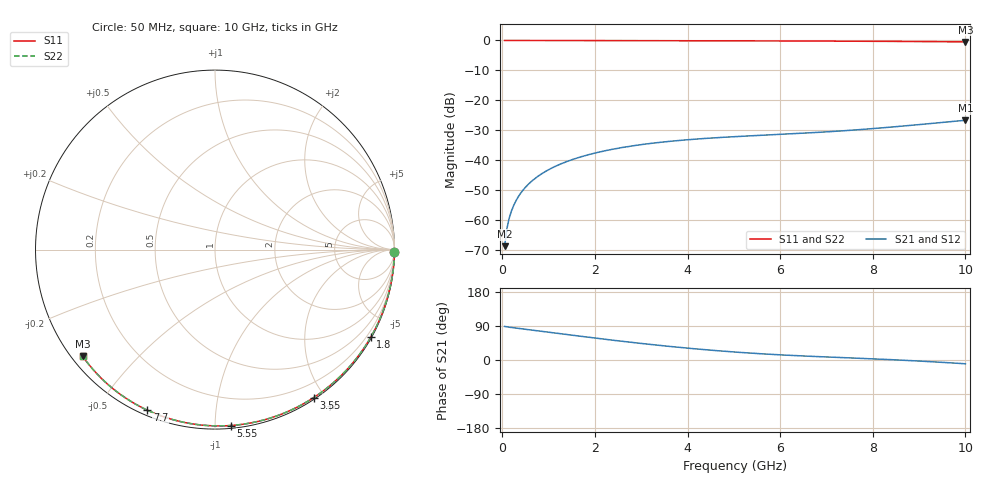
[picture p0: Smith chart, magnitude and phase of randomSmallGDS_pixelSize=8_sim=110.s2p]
! freq	dB(S11)	phase(S11)	dB(S12)	phase(S12)
!  dB(S21)	phase(S21)	dB(S22)	phase(S22)
!S-par simulation data
#  GHz  S  DB  R 50
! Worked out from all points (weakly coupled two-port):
!   200 points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, 50 MHz to 10 GHz, reference 50 ohm
!   highest |S21| = -26.72 dB at 10 GHz (marker M1); lowest = -68.9 dB at 50 MHz (marker M2)
!   lowest |S11| = -0.5 dB at 10 GHz (marker M3), VSWR 36.93, Z = 1.52 - j17.7 ohm
!   |S11| at or under -10 dB: nowhere
!   |S22| runs from -0.5 to 0.0 dB; largest |S21 - S12| = 0
!   S11 on the Smith chart (normalised r, x): 50 MHz: open; 1.8 GHz: 0.03, -3.83; 3.55 GHz: 0.02, -1.87; 5.55 GHz: 0.02, -1.09; 7.7 GHz: 0.02, -0.66; 10 GHz: 0.03, -0.35
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0.05  -0.00 -0.8  -68.87 88.6  -68.87 88.6  -0.00 -0.8
0.1  -0.00 -1.7  -62.92 87.4  -62.92 87.4  -0.00 -1.7
0.15  -0.00 -2.5  -59.45 86.5  -59.45 86.5  -0.00 -2.5
0.2  -0.00 -3.3  -57.00 85.8  -57.00 85.8  -0.00 -3.3
0.25  -0.00 -4.1  -55.10 85.0  -55.10 85.0  -0.00 -4.1
0.35  -0.00 -5.8  -52.22 83.5  -52.22 83.5  -0.00 -5.8
0.5  -0.01 -8.3  -49.16 81.3  -49.16 81.3  -0.01 -8.3
0.7  -0.01 -11.5  -46.29 78.1  -46.29 78.1  -0.01 -11.5
1  -0.02 -16.4  -43.27 73.4  -43.27 73.4  -0.02 -16.4
1.35  -0.03 -22.1  -40.79 67.9  -40.79 67.9  -0.03 -22.1
1.75  -0.04 -28.5  -38.73 61.7  -38.73 61.7  -0.04 -28.5
1.8  -0.04 -29.3  -38.51 61.0  -38.51 61.0  -0.04 -29.3
2.5  -0.05 -40.3  -36.09 50.6  -36.09 50.6  -0.05 -40.3
3.4  -0.07 -54.0  -34.12 38.5  -34.12 38.5  -0.07 -54.1
3.55  -0.08 -56.3  -33.87 36.6  -33.87 36.6  -0.08 -56.3
4.3  -0.10 -67.3  -32.89 28.0  -32.89 28.0  -0.10 -67.3
5.05  -0.12 -77.9  -32.18 20.8  -32.18 20.8  -0.12 -77.9
5.55  -0.14 -84.8  -31.79 16.7  -31.79 16.7  -0.14 -84.8
6.7  -0.19 -100.1  -30.88 9.5  -30.88 9.5  -0.19 -100.1
7.7  -0.26 -112.8  -29.87 4.6  -29.87 4.6  -0.26 -112.8
8.35  -0.31 -120.9  -29.07 1.2  -29.07 1.2  -0.31 -120.9
10  -0.47 -141.1  -26.72 -10.0  -26.72 -10.0  -0.47 -141.1
